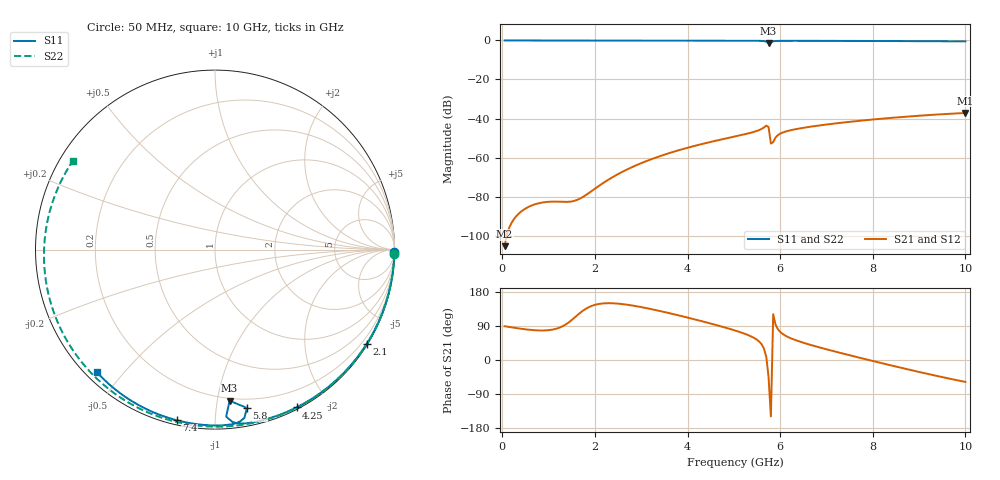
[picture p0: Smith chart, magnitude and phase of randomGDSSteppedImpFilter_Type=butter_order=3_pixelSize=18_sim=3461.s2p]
! freq	dB(S11)	phase(S11)	dB(S12)	phase(S12)
!  dB(S21)	phase(S21)	dB(S22)	phase(S22)
!S-par simulation data
#  GHz  S  DB  R 50
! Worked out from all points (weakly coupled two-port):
!   200 points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, 50 MHz to 10 GHz, reference 50 ohm
!   highest |S21| = -37.14 dB at 10 GHz (marker M1); lowest = -105.4 dB at 50 MHz (marker M2)
!   lowest |S11| = -1.5 dB at 5.75 GHz (marker M3), VSWR 11.99, Z = 9.15 - j54.2 ohm
!   |S11| at or under -10 dB: nowhere
!   |S22| runs from -0.6 to 0.0 dB; largest |S21 - S12| = 0
!   S11 on the Smith chart (normalised r, x): 50 MHz: open; 2.1 GHz: 0.03, -3.51; 4.25 GHz: 0.02, -1.64; 5.8 GHz: 0.13, -1.21; 7.4 GHz: 0.02, -0.80; 10 GHz: 0.03, -0.42
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0.05  -0.00 -0.8  -105.38 89.0  -105.38 89.0  -0.00 -1.3
0.85  -0.02 -13.0  -83.08 77.9  -83.08 77.9  -0.03 -21.5
1.75  -0.03 -26.6  -80.03 130.8  -80.03 130.8  -0.06 -43.6
2.1  -0.04 -31.8  -74.28 148.2  -74.28 148.2  -0.07 -51.9
2.7  -0.05 -40.6  -66.02 145.8  -66.02 145.8  -0.08 -65.8
3.4  -0.07 -50.7  -59.30 129.4  -59.30 129.4  -0.11 -81.4
4.25  -0.09 -62.6  -53.42 104.2  -53.42 104.2  -0.14 -99.4
5.05  -0.11 -73.7  -49.04 76.9  -49.04 76.9  -0.17 -115.6
5.45  -0.15 -79.7  -46.71 57.3  -46.71 57.3  -0.19 -123.5
5.65  -0.31 -84.3  -44.57 30.4  -44.57 30.4  -0.20 -127.4
5.7  -0.61 -86.2  -43.65 8.6  -43.65 8.6  -0.21 -128.3
5.75  -1.45 -84.5  -44.39 -45.6  -44.39 -45.6  -0.21 -129.3
5.8  -0.92 -78.6  -52.83 -148.9  -52.83 -148.9  -0.22 -130.2
5.85  -0.43 -80.1  -52.08 120.7  -52.08 120.7  -0.22 -131.2
5.9  -0.29 -81.7  -49.74 93.6  -49.74 93.6  -0.22 -132.2
5.95  -0.23 -82.9  -48.52 81.6  -48.52 81.6  -0.22 -133.1
6.05  -0.19 -84.8  -47.22 69.2  -47.22 69.2  -0.23 -135.0
6.7  -0.19 -93.9  -44.02 38.3  -44.02 38.3  -0.27 -147.4
7.4  -0.23 -102.7  -41.94 15.6  -41.94 15.6  -0.33 -160.6
8.35  -0.29 -114.2  -39.75 -13.0  -39.75 -13.0  -0.42 -178.7
9.2  -0.37 -124.3  -38.23 -37.1  -38.23 -37.1  -0.51 164.5
10  -0.46 -134.0  -37.14 -57.8  -37.14 -57.8  -0.60 147.9
